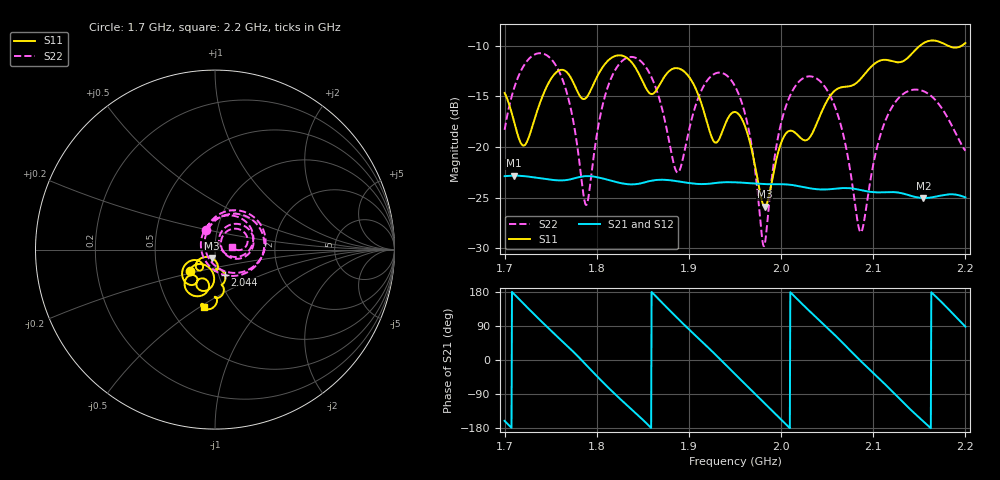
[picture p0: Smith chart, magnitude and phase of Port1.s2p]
# Hz S RI R 50
! CMT, CMT808U, 21440046, 21.4.3/4
! Date: 11/12/2025 3:01:42 PM
! Data: Format (Calibration Info)
! Freq	S11:Re/Im(F2)	S41:Re/Im(F2)	S14:Re/Im(F2)	S44:Re/Im(F2)
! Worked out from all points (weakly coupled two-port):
!   1001 points, 1.7 GHz to 2.2 GHz, reference 50 ohm
!   highest |S21| = -22.81 dB at 1.71 GHz (marker M1); lowest = -25.0 dB at 2.155 GHz (marker M2)
!   lowest |S11| = -25.9 dB at 1.982 GHz (marker M3), VSWR 1.11, Z = 47.9 - j4.52 ohm
!   |S11| at or under -10 dB: start of sweep to 2.151 GHz; 2.181 GHz to 2.196 GHz (14.31 MHz wide, 0.654 % of centre)
!   |S22| runs from -29.8 to -10.7 dB; largest |S21 - S12| = 7.9e-05
!   S11 on the Smith chart (normalised r, x): 1.7 GHz: 0.73, -0.18; 2.044 GHz: 1.07, -0.30; 2.2 GHz: 0.73, -0.52
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1.7e9  -0.1408 -0.1203  -0.0678 -0.0239  -0.0678 -0.0239  -0.0491 0.1114
1.71e9  -0.1059 -0.0838  -0.0721 0.00655  -0.0721 0.0065  0.0166 0.1929
1.7225e9  -0.0391 -0.0953  -0.058 0.0423  -0.058 0.0423  0.1439 0.2158
1.753e9  -0.0366 -0.2232  0.0222 0.0651  0.0222 0.0651  0.2606 -0.0402
1.7835e9  -0.0698 -0.1601  0.0715 -0.00028  0.0715 -0.000252  -0.0231 -0.065
1.79e9  -0.0432 -0.1735  0.0689 -0.0208  0.0689 -0.0208  -0.0536 -0.000407
1.8065e9  -0.0523 -0.2432  0.0368 -0.0596  0.0369 -0.0596  0.00163 0.1623
1.826e9  -0.1381 -0.248  -0.0163 -0.0644  -0.0163 -0.0644  0.1968 0.1733
1.867e9  -0.0977 -0.1729  -0.0652 0.0225  -0.0652 0.0225  0.1025 -0.1468
1.888e9  -0.1671 -0.1794  -0.0225 0.064  -0.0225 0.064  -0.0725 -0.0189
1.9185e9  -0.125 -0.0591  0.0516 0.0408  0.0516 0.0408  0.0863 0.1904
1.95e9  -0.0994 -0.1111  0.0535 -0.0404  0.0535 -0.0404  0.1996 0.0102
1.9655e9  -0.0919 -0.0579  0.0178 -0.0639  0.0179 -0.0639  0.1109 -0.041
1.9825e9  -0.0193 -0.047  -0.0276 -0.0596  -0.0275 -0.0596  0.0269 0.0201
2.003e9  0.0132 -0.1118  -0.063 -0.0181  -0.063 -0.0182  0.0686 0.1308
2.0335e9  0.0314 -0.1119  -0.034 0.0523  -0.034 0.0523  0.2131 0.066
2.044e9  0.0544 -0.1391  -0.00966 0.061  -0.0097 0.061  0.2079 0.00692
2.065e9  0.0411 -0.1929  0.0405 0.0479  0.0405 0.0479  0.1169 -0.0515
2.0865e9  0.0475 -0.2124  0.0613 -0.00305  0.0613 -0.00304  0.0364 0.0109
2.117e9  0.00251 -0.2684  0.0165 -0.0577  0.0165 -0.0577  0.0934 0.1144
2.1545e9  -0.0148 -0.3256  -0.0534 -0.0172  -0.0534 -0.0172  0.1823 0.0497
2.2e9  -0.0603 -0.3207  0.00203 0.0564  0.002 0.0564  0.0948 0.0153
